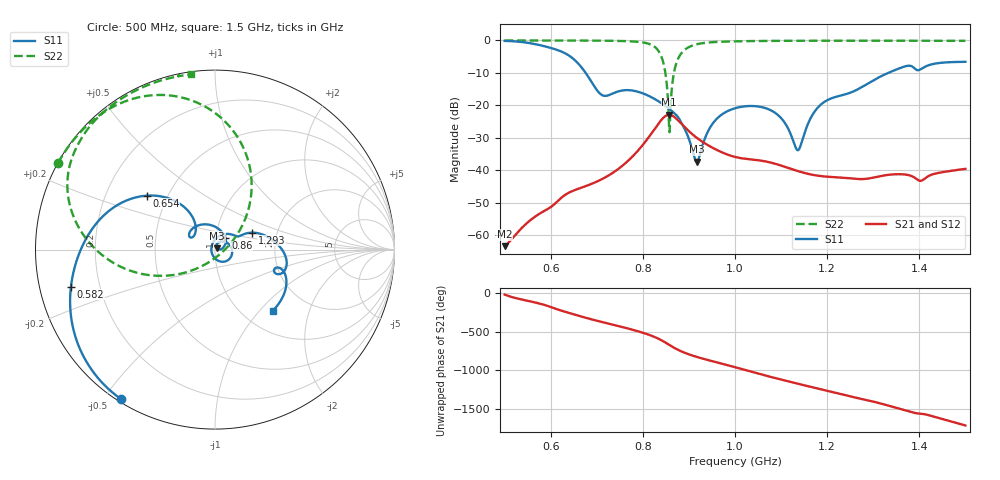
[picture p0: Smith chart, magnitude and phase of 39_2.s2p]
! TOUCHSTONE file generated by CST MICROWAVE STUDIO
! Date and time: Wed Oct 28 19:40:44 2020
! Project name: Scenario_1_Circular_Tissue_out_of_Line_v2.cst
! Parameters = {dy1=311.4; L_HA=400; MT=2.54; Rad_Dielectric=30; Rad_Lower=7.3; Rad_Upper=30; a_HA=580; a_WG=246; b_HA=500; b_WG=121; c_HA=0; c_WG=187; d_feed=85; dx1=346; h_feed=15; h_lower=18; h_upper=40}
! Header version: 2018
! Port assignment regex: !\s*Touchstone port\s*([0-9]+)\s*=\s*(CST MWS port|CST DS port)\s*([0-9]+|Zmin|Zmax)\s*\(\"(.*)\"\)(\s*mode\s*([0-9]+))?.*
! Touchstone port assignment:
! Touchstone port 1 = CST MWS port 1 ("")
! Touchstone port 2 = CST MWS port 2 ("")
# GHz S DB R 50
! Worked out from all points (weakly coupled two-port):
!   1003 points, 500 MHz to 1.5 GHz, reference 50 ohm
!   highest |S21| = -22.89 dB at 857 MHz (marker M1); lowest = -63.3 dB at 500 MHz (marker M2)
!   lowest |S11| = -37.3 dB at 917 MHz (marker M3), VSWR 1.03, Z = 51.1 + j0.819 ohm
!   |S11| at or under -10 dB: 675.9 MHz to 1.332 GHz (656.4 MHz wide, 65.4 % of centre)
!   |S22| runs from -28.2 to 0.0 dB; largest |S21 - S12| = 2e-06
!   S11 on the Smith chart (normalised r, x): 500 MHz: 0.01, -0.55; 582 MHz: 0.10, -0.13; 654 MHz: 0.38, +0.30; 860 MHz: 1.11, +0.14; 1.293 GHz: 1.49, +0.30; 1.5 GHz: 1.36, -1.18
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0.5  -0.14 -122.2  -63.33 -15.4  -63.33 -15.4  -0.01 151.1
0.582  -1.63 -165.6  -52.82 -142.6  -52.82 -142.6  -0.02 145.5
0.654  -6.28 141.7  -45.97 80.1  -45.97 80.1  -0.03 139.6
0.667  -8.31 132.1  -45.31 57.6  -45.31 57.6  -0.04 138.4
0.712  -16.87 140.0  -42.64 -13.5  -42.64 -13.5  -0.08 133.4
0.78  -15.48 130.5  -35.37 -116.8  -35.37 -116.8  -0.32 120.5
0.834  -18.73 78.8  -25.59 129.9  -25.59 129.9  -3.24 83.1
0.846  -19.87 64.9  -23.61 91.3  -23.61 91.3  -7.81 59.9
0.857  -21.04 51.3  -22.89 50.9  -22.89 50.9  -26.98 -14.7
0.86  -21.39 47.4  -22.94 39.9  -22.94 39.9  -21.00 -120.4
0.867  -22.24 38.4  -23.43 15.1  -23.43 15.1  -10.34 -151.5
0.876  -23.52 28.4  -24.54 -13.4  -24.54 -13.4  -5.79 -168.1
0.917  -37.34 36.1  -29.97 -106.3  -29.97 -106.3  -1.18 159.8
0.952  -25.51 56.2  -33.09 -164.2  -33.09 -164.2  -0.53 148.7
1  -20.88 8.8  -35.86 120.1  -35.86 120.1  -0.28 140.4
1.085  -22.08 -59.5  -37.87 -17.9  -37.87 -17.9  -0.14 131.1
1.136  -33.80 -175.7  -40.20 -94.5  -40.20 -94.5  -0.11 126.8
1.167  -23.19 80.0  -41.33 -139.5  -41.33 -139.6  -0.09 124.3
1.293  -12.87 24.6  -42.43 42.5  -42.43 42.5  -0.08 114.6
1.334  -9.90 10.5  -41.35 -21.4  -41.35 -21.4  -0.09 111.5
1.403  -8.86 -16.0  -43.22 -125.6  -43.22 -125.6  -0.10 106.1
1.5  -6.58 -46.4  -39.53 82.3  -39.53 82.3  -0.13 97.9
